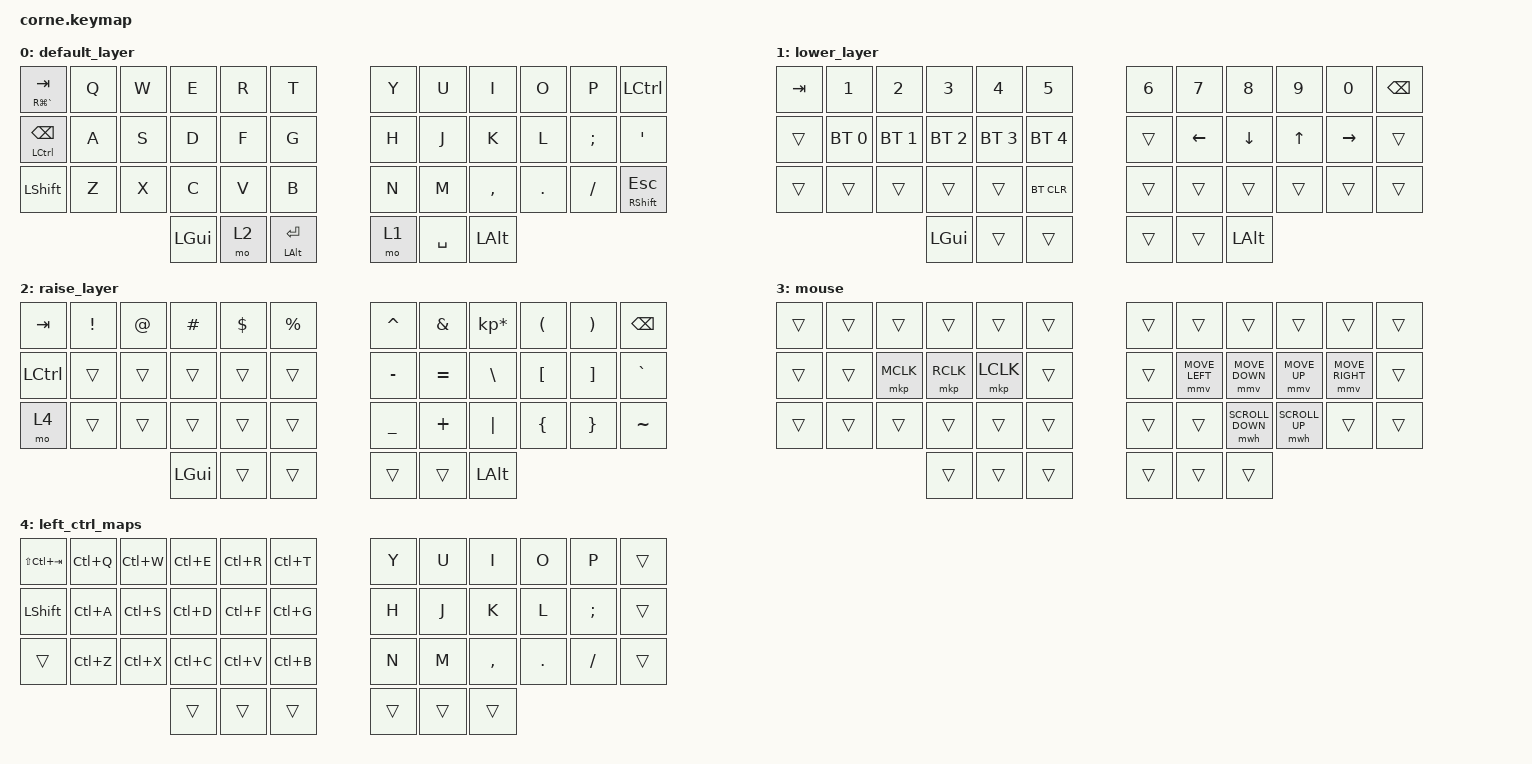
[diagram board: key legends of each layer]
/*
 * Copyright (c) 2020 The ZMK Contributors
 *
 * SPDX-License-Identifier: MIT
 */

#include <behaviors.dtsi>
#include <dt-bindings/zmk/bt.h>
#include <dt-bindings/zmk/keys.h>
#include "mouse.dtsi"
#define MOUSE 6
/ {
    combos { compatible = "zmk,combos"; };

    keymap {
        compatible = "zmk,keymap";

        default_layer {
            // -----------------------------------------------------------------------------------------
            // |  TAB |  Q  |  W  |  E  |  R  |  T  |   |  Y  |  U   |  I  |  O  |  P  | BKSP |
            // | CTRL |  A  |  S  |  D  |  F  |  G  |   |  H  |  J   |  K  |  L  |  ;  |  '   |
            // | SHFT |  Z  |  X  |  C  |  V  |  B  |   |  N  |  M   |  ,  |  .  |  /  | ESC  |
            //                    | GUI | ENT | RSE|   | LWR | SPC  | ALT |

            bindings = <
&mt RG(GRAVE) TAB    &kp Q  &kp W  &kp E     &kp R  &kp T                 &kp Y  &kp U      &kp I         &kp O    &kp P     &kp LCTRL
&mt LCTRL BACKSPACE  &kp A  &kp S  &kp D     &kp F  &kp G                 &kp H  &kp J      &kp K         &kp L    &kp SEMI  &kp SQT
&kp LSHFT            &kp Z  &kp X  &kp C     &kp V  &kp B                 &kp N  &kp M      &kp COMMA     &kp DOT  &kp FSLH  &mt RIGHT_SHIFT ESCAPE
                                   &kp LGUI  &mo 2  &mt LEFT_ALT ENTER    &mo 1  &kp SPACE  &kp LEFT_ALT
            >;
        };

        lower_layer {
            // -----------------------------------------------------------------------------------------
            // |  TAB |  1  |  2  |  3  |  4  |  5  |   |  6  |  7  |  8  |  9  |  0  | BKSP |
            // | BTCLR| BT1 | BT2 | BT3 | BT4 | BT5 |   | LFT | DWN |  UP | RGT |     |      |
            // | SHFT |     |     |     |     |     |   |     |     |     |     |     |      |
            //                    | GUI |     | ENT |   | SPC |     | ALT |

            bindings = <
&kp TAB  &kp N1        &kp N2        &kp N3        &kp N4        &kp N5          &kp N6  &kp N7    &kp N8        &kp N9        &kp N0     &kp BSPC
&trans   &bt BT_SEL 0  &bt BT_SEL 1  &bt BT_SEL 2  &bt BT_SEL 3  &bt BT_SEL 4    &trans  &kp LEFT  &kp DOWN      &kp UP_ARROW  &kp RIGHT  &trans
&trans   &trans        &trans        &trans        &trans        &bt BT_CLR      &trans  &trans    &trans        &trans        &trans     &trans
                                     &kp LGUI      &trans        &trans          &trans  &trans    &kp LEFT_ALT
            >;
        };

        raise_layer {
            // -----------------------------------------------------------------------------------------
            // |  TAB |  !  |  @  |  #  |  $  |  %  |   |  ^  |  &  |  *  |  (  |  )  | BKSP |
            // | CTRL |     |     |     |     |     |   |  -  |  =  |  [  |  ]  |  \  |  `   |
            // | SHFT |     |     |     |     |     |   |  _  |  +  |  {  |  }  | "|" |  ~   |
            //                    | GUI |     | SPC |   | ENT |     | ALT |

            bindings = <
&kp TAB    &kp EXCL  &kp AT  &kp HASH  &kp DLLR  &kp PRCNT    &kp CARET  &kp AMPS   &kp KP_MULTIPLY  &kp LPAR          &kp RPAR           &kp BSPC
&kp LCTRL  &trans    &trans  &trans    &trans    &trans       &kp MINUS  &kp EQUAL  &kp BACKSLASH    &kp LEFT_BRACKET  &kp RIGHT_BRACKET  &kp GRAVE
&mo 4      &trans    &trans  &trans    &trans    &trans       &kp UNDER  &kp PLUS   &kp PIPE         &kp LEFT_BRACE    &kp RIGHT_BRACE    &kp TILDE
                             &kp LGUI  &trans    &trans       &trans     &trans     &kp LEFT_ALT
            >;
        };

        mouse {
            bindings = <
&trans  &trans  &trans     &trans     &trans     &trans    &trans  &trans          &trans            &trans          &trans           &trans
&trans  &trans  &mkp MCLK  &mkp RCLK  &mkp LCLK  &trans    &trans  &mmv MOVE_LEFT  &mmv MOVE_DOWN    &mmv MOVE_UP    &mmv MOVE_RIGHT  &trans
&trans  &trans  &trans     &trans     &trans     &trans    &trans  &trans          &mwh SCROLL_DOWN  &mwh SCROLL_UP  &trans           &trans
                           &trans     &trans     &trans    &trans  &trans          &trans
            >;
        };

        left_ctrl_maps {
            bindings = <
&kp LS(LC(TAB))  &kp LC(Q)  &kp LC(W)  &kp LC(E)  &kp LC(R)  &kp LC(T)    &kp Y   &kp U   &kp I      &kp O    &kp P     &trans
&kp LEFT_SHIFT   &kp LC(A)  &kp LC(S)  &kp LC(D)  &kp LC(F)  &kp LC(G)    &kp H   &kp J   &kp K      &kp L    &kp SEMI  &trans
&trans           &kp LC(Z)  &kp LC(X)  &kp LC(C)  &kp LC(V)  &kp LC(B)    &kp N   &kp M   &kp COMMA  &kp DOT  &kp FSLH  &trans
                                       &trans     &trans     &trans       &trans  &trans  &trans
            >;
        };
    };

    conditional_layers {
        compatible = "zmk,conditional-layers";

        mouse_conditional_layer {
            if-layers = <1 2>;
            then-layer = <3>;
        };
    };
};
